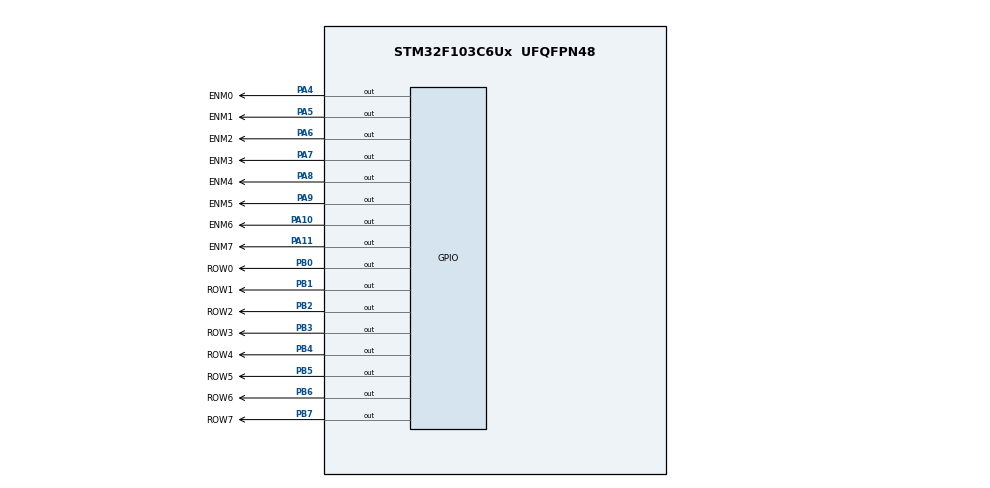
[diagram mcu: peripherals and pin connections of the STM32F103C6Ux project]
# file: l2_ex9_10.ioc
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Mcu.Family=STM32F1
Mcu.Name=STM32F103C6Ux
Mcu.Package=UFQFPN48
NVIC.PriorityGroup=NVIC_PRIORITYGROUP_4
NVIC.TIM2_IRQn=true\:0\:0\:false\:false\:true\:true\:true
PA10.GPIO_Label=ENM6
PA10.Signal=GPIO_Output
PA11.GPIO_Label=ENM7
PA11.Signal=GPIO_Output
PA4.GPIO_Label=ENM0
PA4.Signal=GPIO_Output
PA5.GPIO_Label=ENM1
PA5.Signal=GPIO_Output
PA6.GPIO_Label=ENM2
PA6.Signal=GPIO_Output
PA7.GPIO_Label=ENM3
PA7.Signal=GPIO_Output
PA8.GPIO_Label=ENM4
PA8.Signal=GPIO_Output
PA9.GPIO_Label=ENM5
PA9.Signal=GPIO_Output
PB0.GPIO_Label=ROW0
PB0.Signal=GPIO_Output
PB1.GPIO_Label=ROW1
PB1.Signal=GPIO_Output
PB2.GPIO_Label=ROW2
PB2.Signal=GPIO_Output
PB3.GPIO_Label=ROW3
PB3.Signal=GPIO_Output
PB4.GPIO_Label=ROW4
PB4.Signal=GPIO_Output
PB5.GPIO_Label=ROW5
PB5.Signal=GPIO_Output
PB6.GPIO_Label=ROW6
PB6.Signal=GPIO_Output
PB7.GPIO_Label=ROW7
PB7.Signal=GPIO_Output
ProjectManager.HeapSize=0x200
ProjectManager.StackSize=0x400
ProjectManager.TargetToolchain=STM32CubeIDE
RCC.APB1Freq_Value=8000000
RCC.APB2Freq_Value=8000000
TIM2.Period=9
TIM2.Prescaler=7999
VP_SYS_VS_ND.Mode=No_Debug
VP_TIM2_VS_ClockSourceINT.Mode=Internal
board=custom

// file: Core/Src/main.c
/* USER CODE BEGIN Header */
/**
  ******************************************************************************
  * @file           : main.c
  * @brief          : Main program body
  ******************************************************************************
  * @attention
  *
  * <h2><center>&copy; Copyright (c) 2025 STMicroelectronics.
  * All rights reserved.</center></h2>
  *
  * This software component is licensed by ST under BSD 3-Clause license,
  * the "License"; You may not use this file except in compliance with the
  * License. You may obtain a copy of the License at:
  *                        opensource.org/licenses/BSD-3-Clause
  *
  ******************************************************************************
  */
/* USER CODE END Header */
#include "main.h"

TIM_HandleTypeDef htim2;

void SystemClock_Config(void);
static void MX_GPIO_Init(void);
static void MX_TIM2_Init(void);

/* USER CODE BEGIN 0 */
const int MAX_LED_MATRIX = 8;
 int index_led_matrix = 0;
 uint8_t matrix_buffer[8] = {0x18, 0x3C, 0x66, 0x66, 0x7E, 0x7E, 0x66, 0x66};

 uint8_t letterA[8] = {0x18, 0x3C, 0x66, 0x66, 0x7E, 0x7E, 0x66, 0x66};

 GPIO_TypeDef* ROW_GPIO[8] = {ROW0_GPIO_Port,ROW1_GPIO_Port,
 		  ROW2_GPIO_Port,ROW3_GPIO_Port,ROW4_GPIO_Port,
 		  ROW5_GPIO_Port,ROW6_GPIO_Port,ROW7_GPIO_Port};

  int ROW_pin[8] = {ROW0_Pin,ROW1_Pin,ROW2_Pin,ROW3_Pin,
 		  ROW4_Pin,ROW5_Pin,ROW6_Pin,ROW7_Pin};

  GPIO_TypeDef* COL_GPIO[8] = {ENM0_GPIO_Port,ENM1_GPIO_Port,
  		  ENM2_GPIO_Port,ENM3_GPIO_Port,ENM4_GPIO_Port,
  		  ENM5_GPIO_Port,ENM6_GPIO_Port,ENM7_GPIO_Port};

   int COL_pin[8] = {ENM0_Pin,ENM1_Pin,ENM2_Pin,ENM3_Pin,
  		  ENM4_Pin,ENM5_Pin,ENM6_Pin,ENM7_Pin};
void turnoffall()
{
	for(int i=0;i<8;i++)
	{
		HAL_GPIO_WritePin(ROW_GPIO[i], ROW_pin[i], SET);
		HAL_GPIO_WritePin(COL_GPIO[i], COL_pin[i], SET);
	}
}
void turnon(uint8_t num, int row)
{
	if(row!=0)
	{
		HAL_GPIO_WritePin(ROW_GPIO[row-1], ROW_pin[row-1], SET);
	}
	else
	{
		HAL_GPIO_WritePin(ROW_GPIO[7], ROW_pin[7], SET);
	}
	for(int i=0;i<8;i++)
	{
		int bit_value = (num>>i) & 1;
		if(bit_value==1)
		{
			HAL_GPIO_WritePin(COL_GPIO[i], COL_pin[i], RESET);
		}
		else
		{
			HAL_GPIO_WritePin(COL_GPIO[i], COL_pin[i], SET);
		}
	}
	HAL_GPIO_WritePin(ROW_GPIO[row], ROW_pin[row], RESET);
}

void turnleft(int stage,int shift)
{
	if(stage == 0)
	{
		for(int i=0;i<8;i++)
		{
			matrix_buffer[i] = matrix_buffer[i]>>1;
		}
	}
	else if(stage == 1)
	{
		for(int i=0;i<8;i++)
		{
			matrix_buffer[i] = letterA[i] << shift;
		}
	}
}

 void updateLEDMatrix(int index){
	 switch (index){
	 case 0:
		 turnon(matrix_buffer[0], 0);
	 break;
	 case 1:
		 turnon(matrix_buffer[1], 1);
	 break;
	 case 2:
		 turnon(matrix_buffer[2], 2);
	 break;
	 case 3:
		 turnon(matrix_buffer[3], 3);
	 break;
	 case 4:
		 turnon(matrix_buffer[4], 4);
	 break;
	 case 5:
		 turnon(matrix_buffer[5], 5);
	 break;
	 case 6:
		 turnon(matrix_buffer[6], 6);
	 break;
	 case 7:
		 turnon(matrix_buffer[7], 7);
	 break;
	 default:
		 turnoffall();
	 break;
	 }
 }

 int cycle = 10;

 int timer0_counter = 0;
  int timer0_flag = 0;
  int TIMER_CYCLE = 10;
  void setTimer0(int duration)
  {
 	 timer0_counter = duration /TIMER_CYCLE;
 	 timer0_flag = 0;
  }
  void timer_run(){
 	 if(timer0_counter > 0)
 	 {
 		 timer0_counter--;
 		 if(timer0_counter <= 0)
 			 {timer0_flag = 1;}
 	 }
  }

/* USER CODE END 0 */

int main(void)
{

  /* MCU Configuration--------------------------------------------------------*/

  /* Reset of all peripherals, Initializes the Flash interface and the Systick. */
  HAL_Init();

  /* Configure the system clock */
  SystemClock_Config();

  /* Initialize all configured peripherals */
  MX_GPIO_Init();
  MX_TIM2_Init();
  /* USER CODE BEGIN 2 */
  HAL_TIM_Base_Start_IT(&htim2);
  /* USER CODE END 2 */

  /* Infinite loop */
  /* USER CODE BEGIN WHILE */
  setTimer0(cycle);
  int count=0;
  turnoffall();
  int counttime = 16;
  int s=0;
  while (1)
  {
	  //BEGIN EX9---
	  if(timer0_flag == 1)
	  {
		  setTimer0(cycle);
		  updateLEDMatrix(count);
		  count++;
		  if(count>=8) count=0;
		  counttime--;
	  }
	  //END EX9-----

	  //BEGIN EX10----
	  if(counttime<=0)
	  {
		  counttime = 16;
		  if(s<=7) {turnleft(0,0);s++;}
		  else
		  {
			  turnleft(1,15-s);
			  s++;
			  if(s==16) s = 0;
		  }
	  }
	  //END EX10------

    /* USER CODE END WHILE */

  }
}

void SystemClock_Config(void)
{
  RCC_OscInitTypeDef RCC_OscInitStruct = {0};
  RCC_ClkInitTypeDef RCC_ClkInitStruct = {0};

  /** Initializes the RCC Oscillators according to the specified parameters
  * in the RCC_OscInitTypeDef structure.
  */
  RCC_OscInitStruct.OscillatorType = RCC_OSCILLATORTYPE_HSI;
  RCC_OscInitStruct.HSIState = RCC_HSI_ON;
  RCC_OscInitStruct.HSICalibrationValue = RCC_HSICALIBRATION_DEFAULT;
  RCC_OscInitStruct.PLL.PLLState = RCC_PLL_NONE;
  if (HAL_RCC_OscConfig(&RCC_OscInitStruct) != HAL_OK)
  {
    Error_Handler();
  }
  /** Initializes the CPU, AHB and APB buses clocks
  */
  RCC_ClkInitStruct.ClockType = RCC_CLOCKTYPE_HCLK|RCC_CLOCKTYPE_SYSCLK
                              |RCC_CLOCKTYPE_PCLK1|RCC_CLOCKTYPE_PCLK2;
  RCC_ClkInitStruct.SYSCLKSource = RCC_SYSCLKSOURCE_HSI;
  RCC_ClkInitStruct.AHBCLKDivider = RCC_SYSCLK_DIV1;
  RCC_ClkInitStruct.APB1CLKDivider = RCC_HCLK_DIV1;
  RCC_ClkInitStruct.APB2CLKDivider = RCC_HCLK_DIV1;

  if (HAL_RCC_ClockConfig(&RCC_ClkInitStruct, FLASH_LATENCY_0) != HAL_OK)
  {
    Error_Handler();
  }
}

static void MX_TIM2_Init(void)
{

  TIM_ClockConfigTypeDef sClockSourceConfig = {0};
  TIM_MasterConfigTypeDef sMasterConfig = {0};

  htim2.Instance = TIM2;
  htim2.Init.Prescaler = 7999;
  htim2.Init.CounterMode = TIM_COUNTERMODE_UP;
  htim2.Init.Period = 9;
  htim2.Init.ClockDivision = TIM_CLOCKDIVISION_DIV1;
  htim2.Init.AutoReloadPreload = TIM_AUTORELOAD_PRELOAD_DISABLE;
  if (HAL_TIM_Base_Init(&htim2) != HAL_OK)
  {
    Error_Handler();
  }
  sClockSourceConfig.ClockSource = TIM_CLOCKSOURCE_INTERNAL;
  if (HAL_TIM_ConfigClockSource(&htim2, &sClockSourceConfig) != HAL_OK)
  {
    Error_Handler();
  }
  sMasterConfig.MasterOutputTrigger = TIM_TRGO_RESET;
  sMasterConfig.MasterSlaveMode = TIM_MASTERSLAVEMODE_DISABLE;
  if (HAL_TIMEx_MasterConfigSynchronization(&htim2, &sMasterConfig) != HAL_OK)
  {
    Error_Handler();
  }

}

static void MX_GPIO_Init(void)
{
  GPIO_InitTypeDef GPIO_InitStruct = {0};

  /* GPIO Ports Clock Enable */
  __HAL_RCC_GPIOA_CLK_ENABLE();
  __HAL_RCC_GPIOB_CLK_ENABLE();

  /*Configure GPIO pin Output Level */
  HAL_GPIO_WritePin(GPIOA, ENM0_Pin|ENM1_Pin|ENM2_Pin|ENM3_Pin
                          |ENM4_Pin|ENM5_Pin|ENM6_Pin|ENM7_Pin, GPIO_PIN_RESET);

  /*Configure GPIO pin Output Level */
  HAL_GPIO_WritePin(GPIOB, ROW0_Pin|ROW1_Pin|ROW2_Pin|ROW3_Pin
                          |ROW4_Pin|ROW5_Pin|ROW6_Pin|ROW7_Pin, GPIO_PIN_RESET);

  /*Configure GPIO pins : ENM0_Pin ENM1_Pin ENM2_Pin ENM3_Pin
                           ENM4_Pin ENM5_Pin ENM6_Pin ENM7_Pin */
  GPIO_InitStruct.Pin = ENM0_Pin|ENM1_Pin|ENM2_Pin|ENM3_Pin
                          |ENM4_Pin|ENM5_Pin|ENM6_Pin|ENM7_Pin;
  GPIO_InitStruct.Mode = GPIO_MODE_OUTPUT_PP;
  GPIO_InitStruct.Pull = GPIO_NOPULL;
  GPIO_InitStruct.Speed = GPIO_SPEED_FREQ_LOW;
  HAL_GPIO_Init(GPIOA, &GPIO_InitStruct);

  /*Configure GPIO pins : ROW0_Pin ROW1_Pin ROW2_Pin ROW3_Pin
                           ROW4_Pin ROW5_Pin ROW6_Pin ROW7_Pin */
  GPIO_InitStruct.Pin = ROW0_Pin|ROW1_Pin|ROW2_Pin|ROW3_Pin
                          |ROW4_Pin|ROW5_Pin|ROW6_Pin|ROW7_Pin;
  GPIO_InitStruct.Mode = GPIO_MODE_OUTPUT_PP;
  GPIO_InitStruct.Pull = GPIO_NOPULL;
  GPIO_InitStruct.Speed = GPIO_SPEED_FREQ_LOW;
  HAL_GPIO_Init(GPIOB, &GPIO_InitStruct);

}

/* USER CODE BEGIN 4 */
void HAL_TIM_PeriodElapsedCallback(TIM_HandleTypeDef *htim)
{

	timer_run();

}
/* USER CODE END 4 */

void Error_Handler(void)
{
  __disable_irq();
  while (1)
  {
  }
}

/************************ (C) COPYRIGHT STMicroelectronics *****END OF FILE****/
